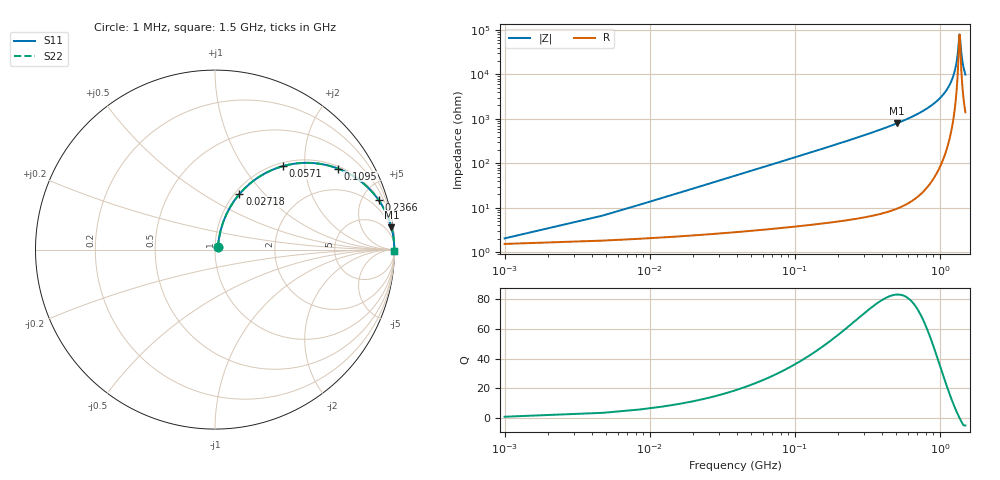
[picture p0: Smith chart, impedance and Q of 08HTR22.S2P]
! Coilcraft 0805HT-R22 Chip Inductor
! 8 July 2002
# MHZ S MA R 50
!Freq  MagS11  AngS11  MagS21  AngS21  MagS12  AngS12  MagS22  AngS22
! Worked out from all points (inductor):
!   402 points, 1 MHz to 1.5 GHz, reference 50 ohm
!   read as one part in series: L = 215 nH near 8.48 MHz
!   highest Q = 83.2 at 505.9 MHz (marker M1), where L = 249 nH
!   self-resonance near 1.366 GHz
!   S11 on the Smith chart (normalised r, x): 1 MHz: 1.03, +0.03; 27.18 MHz: 1.05, +0.73; 57.1 MHz: 1.06, +1.55; 109.5 MHz: 1.08, +2.98; 236.6 MHz: 1.11, +6.59; 1.5 GHz: open
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1  0.02013 40.6  0.9848 -0.8  0.9848 -0.8  0.02013 40.6
12.22  0.1609 73.4  0.9665 -9.2  0.9665 -9.2  0.1609 73.4
19.7  0.2526 70.3  0.9454 -14.6  0.9454 -14.6  0.2526 70.3
27.18  0.338 66.3  0.9179 -19.7  0.9179 -19.7  0.338 66.3
42.14  0.4851 58.1  0.8503 -29.0  0.8503 -29.0  0.4851 58.1
57.1  0.6001 50.8  0.7759 -36.8  0.7759 -36.8  0.6001 50.8
109.46  0.8203 33.4  0.551 -55.1  0.551 -55.1  0.8203 33.4
161.82  0.9048 24.1  0.408 -64.8  0.408 -64.8  0.9048 24.1
236.62  0.9527 16.8  0.2891 -72.3  0.2891 -72.3  0.9527 16.8
251.58  0.958 15.8  0.2723 -73.3  0.2723 -73.3  0.958 15.8
502.16  0.9905 7.3  0.1263 -82.1  0.1263 -82.1  0.9905 7.3
505.9  0.9906 7.2  0.1251 -82.1  0.1251 -82.1  0.9906 7.2
752.74  0.9967 3.9  0.06832 -85.2  0.06832 -85.2  0.9967 3.9
1003.32  0.9985 1.9  0.03403 -86.4  0.03403 -86.4  0.9985 1.9
1152.92  0.9988 1.1  0.01859 -85.7  0.01859 -85.7  0.9988 1.1
1253.9  0.9988 0.5  0.009472 -82.6  0.009472 -82.6  0.9988 0.5
1313.74  0.9988 0.2  0.004515 -74.4  0.004515 -74.4  0.9988 0.2
1366.1  0.9987 0.0  0.001264 -5.8  0.001264 -5.8  0.9987 0.0
1377.32  0.9987 -0.0  0.001478 30.7  0.001478 30.7  0.9987 -0.0
1403.5  0.9987 -0.2  0.003079 64.8  0.003079 64.8  0.9987 -0.2
1429.68  0.9987 -0.3  0.004971 74.2  0.004971 74.2  0.9987 -0.3
1500  0.9985 -0.6  0.01009 81.3  0.01009 81.3  0.9985 -0.6
